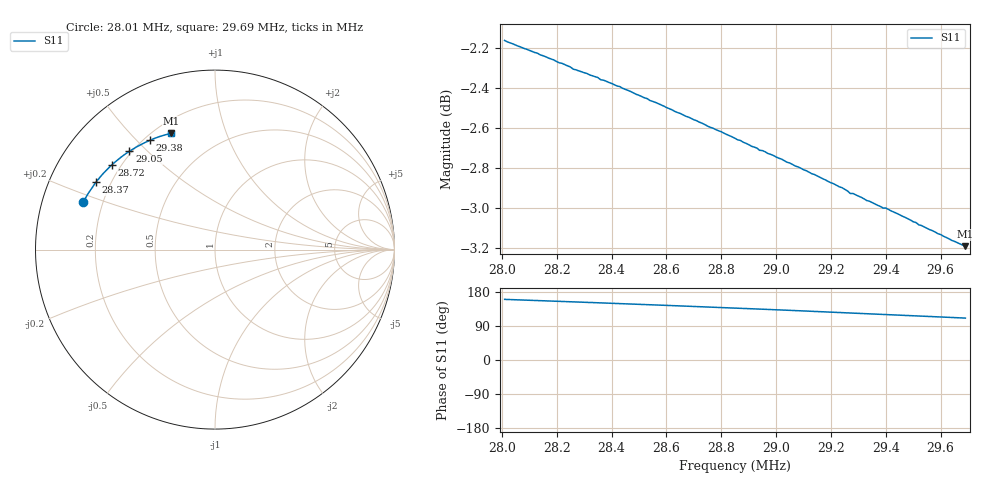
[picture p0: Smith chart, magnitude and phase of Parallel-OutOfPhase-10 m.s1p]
# HZ S RI R 50
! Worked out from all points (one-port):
!   169 points, 28.01 MHz to 29.69 MHz, reference 50 ohm
!   lowest |S11| = -3.2 dB at 29.69 MHz (marker M1), VSWR 5.51, Z = 13.2 + j33 ohm
!   |S11| at or under -10 dB: nowhere
!   S11 on the Smith chart (normalised r, x): 28.01 MHz: 0.13, +0.17; 28.37 MHz: 0.14, +0.26; 28.72 MHz: 0.17, +0.35; 29.05 MHz: 0.19, +0.44; 29.38 MHz: 0.22, +0.55; 29.69 MHz: 0.26, +0.66
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2.801e7  -0.7327 0.2666
2.813005e7  -0.712 0.3037
2.822008e7  -0.6948 0.3308
2.82501e7  -0.6886 0.3398
2.82601e7  -0.6859 0.3432
2.830012e7  -0.678 0.3552
2.837014e7  -0.6632 0.3755
2.843017e7  -0.6499 0.3926
2.853021e7  -0.6258 0.4206
2.864025e7  -0.5975 0.4501
2.872028e7  -0.5758 0.4709
2.880032e7  -0.5533 0.4911
2.885034e7  -0.5386 0.503
2.893037e7  -0.5147 0.5217
2.894037e7  -0.5111 0.5239
2.895038e7  -0.5086 0.5262
2.905042e7  -0.4768 0.5482
2.906042e7  -0.4736 0.5502
2.914045e7  -0.447 0.5667
2.921048e7  -0.4232 0.58
2.92605e7  -0.4055 0.5889
2.92705e7  -0.4009 0.5908
2.931052e7  -0.3871 0.598
2.938055e7  -0.3621 0.6091
2.940056e7  -0.3549 0.6126
2.948059e7  -0.325 0.6241
2.960064e7  -0.2786 0.6392
2.969067e7  -0.2434 0.6484
